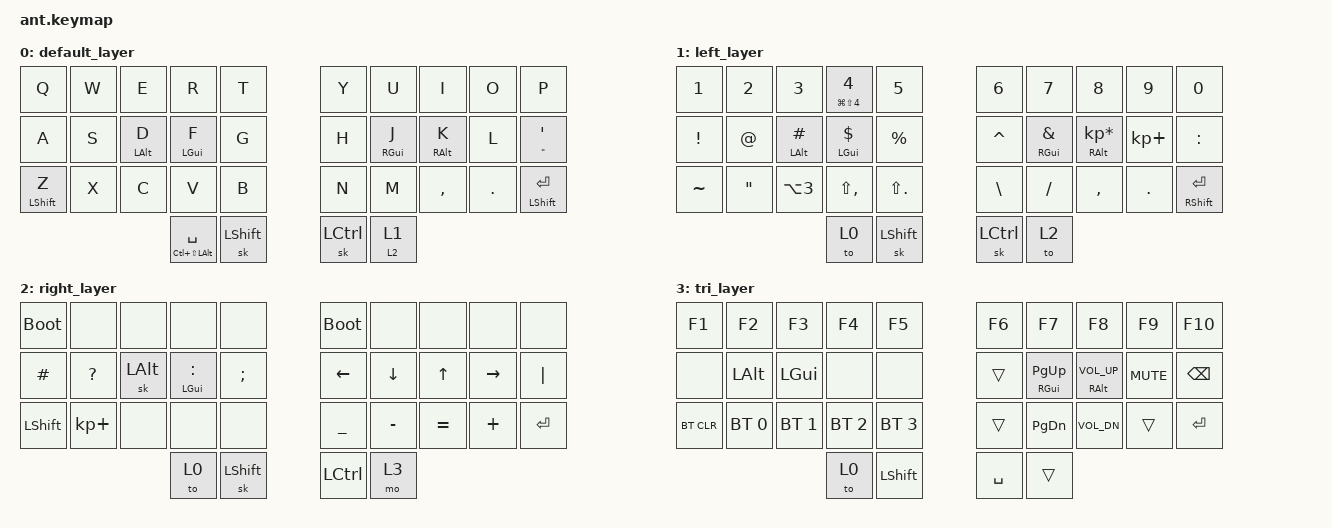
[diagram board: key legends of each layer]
 /*
 * Copyright (c) 2020 The ZMK Contributors
 *
 * SPDX-License-Identifier: MIT
 */

#include <behaviors.dtsi>
#include <dt-bindings/zmk/keys.h>
#include <dt-bindings/zmk/bt.h>
#include <dt-bindings/zmk/outputs.h>


&mt {
    flavor = "tap-preferred";
    tapping_term_ms = <200>;
};
&sk {
    release-after-ms = <2000>;
};

/*                KEY POSITIONS

  ╭────────────────────╮ ╭────────────────────╮
  │  0   1   2   3   4 │ │  5   6   7   8   9 │
  │ 10  11  12  13  14 │ │ 15  16  17  18  19 │
  │ 20  21  22  23  24 │ │ 25  26  27  28  29 │
  ╰───────────╮ 30  31 │ │ 32  33 ╭───────────╯
              ╰────────╯ ╰────────╯            */


/ { 

    combos {
        compatible = "zmk,combos";
        combo_esc {
            timeout-ms = <50>;
            key-positions = <0 1>;
            bindings = <&kp ESC>;
        };
        
         combo_tab {
            timeout-ms = <50>;
            key-positions = <10 11>;
            bindings = <&kp TAB>;
        };

        combo_LPAR {
            timeout-ms = <50>;
            key-positions = <0 10>;
            bindings = <&kp LPAR>;
        };

        combo_RPAR {
            timeout-ms = <50>;
            key-positions = <4 14>;
            bindings = <&kp RPAR>;
        };  
           
        combo_LBRC {
            timeout-ms = <50>;
            key-positions = <1 11>;
            bindings = <&kp LBRC>;
        };
 
        combo_RBRC {
            timeout-ms = <50>;
            key-positions = <3 13>;
            bindings = <&kp RBRC>;
            };

        combo_LBKT {
            timeout-ms = <50>;
            key-positions = <11 21>;
            bindings = <&kp LBKT>;
            };  

        combo_RBKT {
            timeout-ms = <50>;
            key-positions = <13 23>;
            bindings = <&kp RBKT>;
            };

        combo_BSPC {
            timeout-ms = <50>;
            key-positions = <8 9>;
            bindings = <&kp BSPC>;
            };

        combo_CUT {
            timeout-ms = <50>;
            key-positions = <20 21>;
            bindings = <&kp LG(X)>;
            };

        combo_COPY {
            timeout-ms = <50>;
            key-positions = <21 22>;
            bindings = <&kp LG(C)>;
            };

        combo_PASTE {
            timeout-ms = <50>;
            key-positions = <22 23>;
            bindings = <&kp LG(V)>;
            };

        combo_UNDO {
            timeout-ms = <50>;
            key-positions = <10 20>;
            bindings = <&kp LG(Z)>;
            };

    };

    behaviors {
        hm: homerow_mods {
            compatible = "zmk,behavior-hold-tap";
            label = "HOMEROW_MODS";
            #binding-cells = <2>;
            tapping-term-ms = <200>;
            quick_tap_ms = <0>;
            flavor = "tap-preferred";
            bindings = <&kp>, <&kp>;
        };
        mo_tog: behavior_mo_tog {
            compatible = "zmk,behavior-hold-tap";
            label = "mo_tog";
            #binding-cells = <2>;
            flavor = "hold-preferred";
            tapping-term-ms = <200>;
            bindings = <&mo>, <&tog>;
        };
    };      

        keymap {
                compatible = "zmk,keymap";

            //      |  q  |  w  |  e  |  r  |  t  |     |  y  |  u  |  i  |  o  |  p  |
            //      |    ESC    |     |     |     |     |     |     |     |    <-     |
            //         (     {           }     )
            //      |  a  |  s  |  d  |  f  |  g  |     |  h  |  j  |  k  |  l  |  "  |
            //      |    TAB    | ALT | CMD |     |     |     | CMD | ALT |     |  '  |
            //               [           ]
            //      |  z  |  x  |  c  |  v  |  b  |     |  n  |  m  |  ,  |  .  | SFT |
            //      | SFT |     |     |     |     |     |     |     |     |     | RET |

                    //                | SPC | SFT |     | CTL | to1 |
                    //                | MEH |     |     |     | to2 |   
                
            default_layer {
            bindings = <
            &kp Q        &kp W &kp E      &kp R      &kp T                            &kp Y &kp U      &kp I      &kp O   &kp P
            &kp A        &kp S &hm LALT D &hm LGUI F &kp G                            &kp H &hm RGUI J &hm RALT K &kp L   &mt DQT SQT
            &mt LSHIFT Z &kp X &kp C      &kp V      &kp B                            &kp N &kp M      &kp COMMA  &kp DOT &mt LSHIFT RET
                        &mt LC(LS(LALT)) SPACE &sk LSHIFT                             &sk LCTRL &mo_tog 2 1
            >;
            };

//              |  1  |  2  |  3  |  4  |  5  |         |  6  |  7  |  8  |  9  |  0  |
//              |     |     |     |     |     |         |     |     |     |     |     |

//              |  !  |  @  |  #  |  $  |  %  |         |  ^  |  &  |  *  |  +  |  :  | 
//              |     |     | ALT | CMD |     |         |     | CMD | ALT |     |     |

//              |  ~  |  "  |  £  |  <  |  >  |         |  \  |  /  |  ,  |  .  | RET |
//              |     |     |     |     |     |         |     |     |     |     | SFT |

//                                | to0 | SFT |         | CTL | to2 |
//                                |     |     |         |     |     |

            left_layer {
            bindings = <
            &kp N1    &kp N2  &kp N3         &mt LG(LS(N4)) N4 &kp N5           &kp N6        &kp N7         &kp N8               &kp N9      &kp N0
            &kp EXCL  &kp AT  &hm LALT HASH  &hm LGUI DLLR     &kp PRCNT        &kp CARET     &hm RGUI AMPS  &hm RALT KP_MULTIPLY &kp KP_PLUS &kp COLON
            &kp TILDE &kp DQT &kp LA(N3)     &kp LS(COMMA)     &kp LS(DOT)      &kp BSLH      &kp FSLH       &kp COMMA            &kp DOT     &mt RSHIFT RET
                                                &to 0  &sk LSHIFT               &sk LCTRL     &to 2
            >;
            };

//              |     |     |     |     |     |         |     |     |     |     |     |
//              |     |     |     |     |     |         |     |     |     |     |     |

//              |  #  |  ?  |     |  :  |  ;  |         |  -  |  =  |  +  |  |  |     |
//              |     |     |     |     |     |         |     |     |     |     |     |

//              | SFT |  +  |     |     |     |         |  _  | <-  | DWN | UP  |  -> |
//              |     |     |     |     |     |         |     |     |     |     |     |
 
//                                | to0 | SFT |         | CTL | mo3 |
//                                |     |     |         |     |     |
            
            right_layer {
            bindings = <
            &bootloader  &none &none &none   &none              &bootloader  &none  &none &none  &none  
            &kp HASH  &kp QMARK  &sk LALT  &hm LGUI COLON  &kp SEMI                  &kp LEFT &kp DOWN &kp UP  &kp RIGHT  &kp PIPE
	
            &kp LSHIFT  &kp KP_PLUS &none  &none  &none                               &kp UNDER &kp MINUS &kp EQUAL  &kp PLUS &kp RET 
                                               &to 0 &sk LSHIFT                       &kp LCTRL  &mo 3
            >;
	    };

            
//              |  F1 |  F2 |  F3 |  F4 |  F5 |         |  F6 | F7  | F8  | F9  | F10 |
//              |     |     |     |     |     |         |     |     |     |     |     |

//              |     |     |     |     |     |         |  -  |PGUP | VUP |MUTE |     |
//              |     |     | ALT | CMD |     |         |     | CMD | ALT |     |     |

//              |BTCLR|BT 1 |BT 2 |BT 3 |BT 4 |         |  _  |PGDN | VDN |     |     |
//              |     |     |     |     |     |         |     |     |     |     |     |

//                                | to0 | SFT |         |     |     |
//                                |     |     |         |     |     |   
            tri_layer {
            bindings = <
            &kp F1  &kp F2    &kp F3    &kp F4    &kp F5                     &kp F6  &kp F7   &kp F8    &kp F9  &kp F10
            &none &kp LALT &kp LGUI &none &none                     &trans &hm RGUI PG_UP  &hm RALT K_VOL_UP &kp K_MUTE &kp BSPC
            &bt BT_CLR  &bt BT_SEL 0 &bt BT_SEL 1 &bt BT_SEL 2 &bt BT_SEL 3                  &trans &kp PG_DN  &kp K_VOL_DN  &trans &kp RET
                                     &to 0 &kp LSHIFT                            &kp SPACE  &trans 
            >;
            };
        };

    }; 
